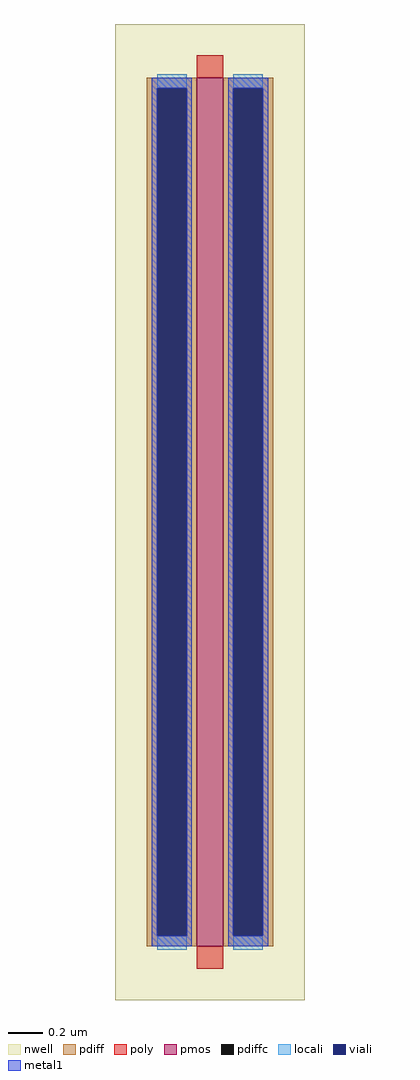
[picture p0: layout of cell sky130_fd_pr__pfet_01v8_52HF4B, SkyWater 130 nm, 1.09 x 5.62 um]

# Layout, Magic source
magic
tech sky130A
magscale 1 2
<< nwell >>
rect -109 -562 109 562
<< pmos >>
rect -15 -500 15 500
<< pdiff >>
rect -73 488 -15 500
rect -73 -488 -61 488
rect -27 -488 -15 488
rect -73 -500 -15 -488
rect 15 488 73 500
rect 15 -488 27 488
rect 61 -488 73 488
rect 15 -500 73 -488
<< pdiffc >>
rect -61 -488 -27 488
rect 27 -488 61 488
<< poly >>
rect -15 500 15 526
rect -15 -526 15 -500
<< locali >>
rect -61 488 -27 504
rect -61 -504 -27 -488
rect 27 488 61 504
rect 27 -504 61 -488
<< viali >>
rect -61 -488 -27 488
rect 27 -488 61 488
<< metal1 >>
rect -67 488 -21 500
rect -67 -488 -61 488
rect -27 -488 -21 488
rect -67 -500 -21 -488
rect 21 488 67 500
rect 21 -488 27 488
rect 61 -488 67 488
rect 21 -500 67 -488
<< properties >>
string gencell sky130_fd_pr__pfet_01v8
string library sky130
string parameters w 5 l 0.15 m 1 nf 1 diffcov 100 polycov 100 guard 0 glc 0 grc 0 gtc 0 gbc 0 tbcov 100 rlcov 100 topc 0 botc 0 poverlap 0 doverlap 0 lmin 0.15 wmin 0.42 compatible {sky130_fd_pr__pfet_01v8  sky130_fd_pr__pfet_01v8_lvt sky130_fd_pr__pfet_01v8_hvt  sky130_fd_pr__pfet_g5v0d10v5} full_metal 0 viasrc 100 viadrn 100 viagate 100 viagb 0 viagr 0 viagl 0 viagt 0
<< end >>
